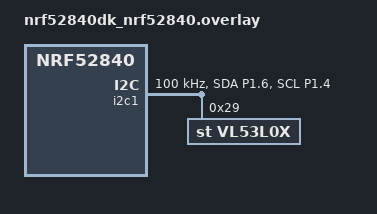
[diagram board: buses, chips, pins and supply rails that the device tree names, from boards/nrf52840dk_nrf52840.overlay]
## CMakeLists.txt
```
#
# Copyright (c) 2020 Nordic Semiconductor ASA
#
# SPDX-License-Identifier: LicenseRef-Nordic-5-Clause
#

cmake_minimum_required(VERSION 3.20.0)
list(APPEND ZEPHYR_EXTRA_MODULES "E:/ncs_workspaces/ncs-3.2.3/ncs-zigbee")
find_package(Zephyr REQUIRED HINTS $ENV{ZEPHYR_BASE})

project(zigbee)

# NORDIC SDK APP START
target_sources(app PRIVATE
  src/main.c
  src/zb_zcl_struct.c
  src/zephyr_drivers.c
)

target_include_directories(app PRIVATE include)
```

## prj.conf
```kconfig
#
# Copyright (c) 2020 Nordic Semiconductor ASA
#
# SPDX-License-Identifier: LicenseRef-Nordic-5-Clause
#

#CONFIG_NCS_SAMPLES_DEFAULTS=y

#for E73-2G4M08S1C
# CONFIG_CLOCK_CONTROL_NRF_K32SRC_XTAL=n
# CONFIG_CLOCK_CONTROL_NRF_K32SRC_RC=y
# CONFIG_CLOCK_CONTROL_NRF_K32SRC_500PPM=y

#production
CONFIG_SERIAL=n
CONFIG_LOG=n
CONFIG_CONSOLE=n
CONFIG_RTT_CONSOLE=n
#CONFIG_LOG_DEFAULT_LEVEL=3
CONFIG_USE_SEGGER_RTT=n
CONFIG_LOG_BACKEND_RTT=n
CONFIG_ASSERT=n
#debug
# CONFIG_SERIAL=y
# CONFIG_LOG=y
# CONFIG_CONSOLE=y
# CONFIG_RTT_CONSOLE=y
# CONFIG_LOG_DEFAULT_LEVEL=3
# CONFIG_USE_SEGGER_RTT=y
# CONFIG_LOG_BACKEND_RTT=y
# CONFIG_ASSERT=y

CONFIG_LOG_BACKEND_UART=n
CONFIG_UART_CONSOLE=n

CONFIG_HEAP_MEM_POOL_SIZE=2048

#zigbee
#CONFIG_ZIGBEE=y
CONFIG_ZIGBEE_ADD_ON=y
CONFIG_ZIGBEE_APP_UTILS=y
CONFIG_ZIGBEE_ROLE_END_DEVICE=y
CONFIG_ZIGBEE_CHANNEL_SELECTION_MODE_MULTI=y

# This example requires more workqueue stack
CONFIG_SYSTEM_WORKQUEUE_STACK_SIZE=2048

# Enable API for powering down unused RAM parts
CONFIG_RAM_POWER_DOWN_LIBRARY=y

# Networking
CONFIG_NET_IPV6=n
CONFIG_NET_IP_ADDR_CHECK=n
CONFIG_NET_UDP=n


#CONFIG_PM=y
#CONFIG_PM_DEVICE=y
CONFIG_DK_LIBRARY=y
CONFIG_NRFX_SAADC=y
#CONFIG_I2C=y                      
#CONFIG_I2C_INIT_PRIORITY=60
#CONFIG_ADC=y
#CONFIG_ADC_NRFX_SAADC=y
CONFIG_LED=y
CONFIG_LED_GPIO=y

#CONFIG_SENSOR=y

# Enable nRF ECB driver
CONFIG_CRYPTO=y
CONFIG_CRYPTO_NRF_ECB=y
CONFIG_CRYPTO_INIT_PRIORITY=80
```

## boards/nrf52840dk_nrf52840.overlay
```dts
&i2c1 {
	compatible = "nordic,nrf-twim";
    status = "okay";
    clock-frequency = <I2C_BITRATE_STANDARD>;
    pinctrl-0 = <&i2c1_default>;
    pinctrl-1 = <&i2c1_sleep>;
    pinctrl-names = "default", "sleep";

	vl53l0x: vl53l0x@29 {
        compatible = "st,vl53l0x";
        reg = <0x29>;
        label = "VL53L0X";
        /* xshut-gpios = <&gpio0 13 GPIO_ACTIVE_LOW>;  // если подключишь XSHUT */
    };
};

&pinctrl {
    i2c1_default: i2c1_default {
        group1 {
            psels = <NRF_PSEL(TWIM_SDA, 1, 6)>,
                    <NRF_PSEL(TWIM_SCL, 1, 4)>;
        };
    };

    i2c1_sleep: i2c1_sleep {
        group1 {
            psels = <NRF_PSEL(TWIM_SDA, 1, 6)>,
                    <NRF_PSEL(TWIM_SCL, 1, 4)>;
            low-power-enable;
        };
    };
};
```

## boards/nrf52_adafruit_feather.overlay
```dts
&i2c0 {
    status = "okay";
    clock-frequency = <I2C_BITRATE_STANDARD>;  // Скорость передачи: 100 кГц
    pinctrl-0 = <&i2c0_default>;           // Настраиваем пользовательские пины
    pinctrl-1 = <&i2c0_sleep>;
    pinctrl-names = "default", "sleep";
};

&pinctrl {
    i2c0_default: i2c0_default {
		group1 {
			psels = <NRF_PSEL(TWIM_SDA, 0, 24)>,
				<NRF_PSEL(TWIM_SCL, 0, 22)>;
		};
	};

    i2c0_sleep: i2c0_sleep {
		group1 {
			psels = <NRF_PSEL(TWIM_SDA, 0, 24)>,
				<NRF_PSEL(TWIM_SCL, 0, 22)>;
			low-power-enable;
		};
	};
};
```

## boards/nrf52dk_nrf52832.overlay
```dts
&i2c0 {
    status = "okay";
    clock-frequency = <I2C_BITRATE_STANDARD>;  // Скорость передачи: 100 кГц
    pinctrl-0 = <&i2c0_default>;           // Настраиваем пользовательские пины
    pinctrl-1 = <&i2c0_sleep>;
    pinctrl-names = "default", "sleep";
};

&pinctrl {
    i2c0_default: i2c0_default {
		group1 {
			psels = <NRF_PSEL(TWIM_SDA, 1, 2)>,
				<NRF_PSEL(TWIM_SCL, 1, 1)>;
		};
	};

    i2c0_sleep: i2c0_sleep {
		group1 {
			psels = <NRF_PSEL(TWIM_SDA, 1, 2)>,
				<NRF_PSEL(TWIM_SCL, 1, 1)>;
			low-power-enable;
		};
	};
};
```

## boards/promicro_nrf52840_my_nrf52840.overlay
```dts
/ {
    aliases {
        sw0 = &user_button;
    };

    buttons {
        compatible = "gpio-keys";

        user_button: button_0 {
            gpios = <&gpio0 8 (GPIO_PULL_UP | GPIO_ACTIVE_LOW)>;
            label = "User Button";
            zephyr,code = <INPUT_KEY_0>;
        };
    };
};
```

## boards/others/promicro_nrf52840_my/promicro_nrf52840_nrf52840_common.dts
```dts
/*
 * Copyright (c) 2024 MASSDRIVER EI (massdriver.space)
 * Copyright (c) 2018-2023 Nordic Semiconductor ASA
 * Copyright (c) 2017 Linaro Limited
 *
 * SPDX-License-Identifier: Apache-2.0
 */

/dts-v1/;
#include <nordic/nrf52840_qiaa.dtsi>
#include "promicro_nrf52840-pinctrl.dtsi"
#include <zephyr/dt-bindings/input/input-event-codes.h>

/ {
	model = "Pro Micro nRF52840";
	compatible = "others,promicro-nrf52840";

	chosen {
		zephyr,sram = &sram0;
		zephyr,flash = &flash0;
		zephyr,ieee802154 = &ieee802154;
	};

	leds: leds {
		compatible = "gpio-leds";
		led0: led_0 {
			gpios = <&gpio0 15 GPIO_ACTIVE_HIGH>;
			label = "Red LED";
		};
	};

	pwmleds {
		compatible = "pwm-leds";
		red_pwm_led: led_pwm_0 {
			pwms = <&pwm0 0 PWM_MSEC(20) PWM_POLARITY_INVERTED>;
			label = "Red PWM LED";
		};
	};

	aliases {
		led0 = &led0;
		pwm-led0 = &red_pwm_led;
		red-pwm-led = &red_pwm_led;
		mcuboot-led0 = &led0;
		spi = &spi2;
		watchdog0 = &wdt0;
	};
};

&adc {
	status = "okay";
};

&gpiote {
	status = "okay";
};

&uicr {
	nfct-pins-as-gpios;
	gpio-as-nreset;
};

&gpio0 {
	status = "okay";
};

&gpio1 {
	status = "okay";
};

&uart0 {
	compatible = "nordic,nrf-uarte";
	status = "okay";
	current-speed = <115200>;
	pinctrl-0 = <&uart0_default>;
	pinctrl-1 = <&uart0_sleep>;
	pinctrl-names = "default", "sleep";
};

&i2c0 {
	compatible = "nordic,nrf-twi";
	status = "disabled";
	pinctrl-0 = <&i2c0_default>;
	pinctrl-1 = <&i2c0_sleep>;
	pinctrl-names = "default", "sleep";
};

&i2c1 {
	compatible = "nordic,nrf-twi";
	status = "disabled";
	pinctrl-0 = <&i2c1_default>;
	pinctrl-1 = <&i2c1_sleep>;
	pinctrl-names = "default", "sleep";
};

&pwm0 {
	status = "okay";
	pinctrl-0 = <&pwm0_default>;
	pinctrl-1 = <&pwm0_sleep>;
	pinctrl-names = "default", "sleep";
};


&spi2 {
	compatible = "nordic,nrf-spi";
	status = "okay";
	pinctrl-0 = <&spi2_default>;
	pinctrl-1 = <&spi2_sleep>;
	pinctrl-names = "default", "sleep";
};

&ieee802154 {
	status = "okay";
};

zephyr_udc0: &usbd {
	status = "okay";
};
#include <../boards/common/usb/cdc_acm_serial.dtsi>
```

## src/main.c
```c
#include <zephyr/kernel.h>
#include <zephyr/device.h>
#include <zephyr/logging/log.h>
#include <ram_pwrdn.h>
#include <dk_buttons_and_leds.h>
#include <zboss_api.h>
#include <zboss_api_addons.h>
#include <zb_zcl_reporting.h>
#include <zigbee/zigbee_app_utils.h>
#include <zigbee/zigbee_error_handler.h>
#include <zb_nrf_platform.h>

#include "zephyr_drivers.h"
#include "zb_zcl_struct.h"

void zboss_signal_handler(zb_bufid_t bufid);
static int configure_gpio(void);
static void button_handler(uint32_t button_state, uint32_t has_changed);
static void read_data_cb(struct k_timer *timer);
static void read_data_handler(struct k_work *work);
static void send_attribute_report(zb_bufid_t bufid, zb_uint16_t cmd_id);
static void enter_deep_sleep_work_handler(struct k_work *work);

K_WORK_DEFINE(read_data_work, read_data_handler);
K_WORK_DELAYABLE_DEFINE(deep_sleep_work, enter_deep_sleep_work_handler);
struct k_timer read_data_timer;

LOG_MODULE_REGISTER(app, LOG_LEVEL_INF);

static void enter_deep_sleep_work_handler(struct k_work *work)
{
	LOG_INF("Configuration window closed. Setting long poll to 10 minutes.");
	zb_zdo_pim_set_long_poll_interval(LONG_POLL_INTERVAL);
}

void zboss_signal_handler(zb_bufid_t bufid)
{
	static bool lastJoin = false;

	zb_zdo_app_signal_hdr_t *sig_hndler = NULL;
	zb_zdo_app_signal_type_t sig = zb_get_app_signal(bufid, &sig_hndler);
	zb_ret_t status = ZB_GET_APP_SIGNAL_STATUS(bufid);

	if (sig == ZB_BDB_SIGNAL_STEERING)
	{
		LOG_INF("Signal STEERING");

		if (status == RET_OK)
		{
			LOG_INF("Device joined the network. Configuring reporting...");
			k_work_reschedule(&deep_sleep_work, K_SECONDS(30));
		}
	}

	if (sig == ZB_BDB_SIGNAL_DEVICE_REBOOT)
	{
		LOG_INF("Signal REBOOT");

		if (status == RET_OK)
		{
			LOG_INF("Device rebooting the network");
			k_work_reschedule(&deep_sleep_work, K_SECONDS(30));
		}
	}

	ZB_ERROR_CHECK(zigbee_default_signal_handler(bufid));

	if (bufid)
	{
		zb_buf_free(bufid);
	}

	bool thisJoin = ZB_JOINED();
	if ((lastJoin == false) && (thisJoin == true))
	{
		LOG_INF("joined network!");
		LED_BLINK_STOP();
		set_led_off(&led);
		k_timer_start(&read_data_timer, READ_DATA_INITIAL_DELAY, READ_DATA_TIMER_PERIOD);
	}
	else if ((lastJoin == true) && (thisJoin == false))
	{
		LOG_INF("left network!");
		LED_BLINK(K_NO_WAIT, K_NO_WAIT);
	}
	lastJoin = thisJoin;
}

static int configure_gpio(void)
{
	int ret;
	k_timer_init(&led_timer, led_timer_handler, NULL);
	LED_BLINK(K_NO_WAIT, K_NO_WAIT);
	if (!gpio_is_ready_dt(&led))
	{
		LOG_ERR("GPIO device for led not ready");
		return -ENODEV;
	}

	if (!gpio_is_ready_dt(&button))
	{
		LOG_ERR("GPIO device for button not ready");
		return -ENODEV;
	}

	ret = gpio_pin_configure_dt(&button, GPIO_INPUT);
	if (ret < 0)
	{
		LOG_ERR("Failed to configure button pin: %d", ret);
		return ret;
	}

	dk_buttons_init(button_handler);
	return 0;
}

void button_handler(uint32_t button_state, uint32_t has_changed)
{
	LOG_INF("button_handler %d", button_state);

	user_input_indicate();

	check_factory_reset_button(button_state, has_changed);
	if (MY_BUTTON_MASK & has_changed & ~button_state)
	{
		if (!was_factory_reset_done())
		{
			//user_short_button_action();
		}
	}
}

static void read_data_cb(struct k_timer *timer)
{
	ARG_UNUSED(timer);
	k_work_submit(&read_data_work);
}

static void send_attribute_report(zb_bufid_t bufid, zb_uint16_t cmd_id)
{
	ARG_UNUSED(cmd_id);
	LOG_INF("force zboss scheduler to wake and send attribute report");
	zb_buf_free(bufid);
}

static void read_data_handler(struct k_work *work)
{
	ARG_UNUSED(work);
	// Read your data here
	// read_your_data(&your_data);
	// zb_zcl_set_attr_val(
	// 	ENDPOINT_NUM,
	// 	ZB_ZCL_CLUSTER_ID_TEMP_MEASUREMENT,
	// 	ZB_ZCL_CLUSTER_SERVER_ROLE,
	// 	ZB_ZCL_ATTR_TEMP_MEASUREMENT_VALUE_ID,
	// 	(zb_uint8_t *)&your_data,
	// 	ZB_FALSE);

	zb_buf_get_out_delayed_ext(send_attribute_report, 0, 0);
}

int main(void)
{
	LOG_INF("Starting...");
	if (!configure_gpio())
	{
		LOG_INF("Init GPIO");
	}
	else
	{
		LOG_INF("ERROR init GPIO");
	}

	register_factory_reset_button(MY_BUTTON_MASK);
	zigbee_erase_persistent_storage(ERASE_PERSISTENT_CONFIG);
	zb_set_ed_timeout(ED_AGING_TIMEOUT_64MIN);
	zb_set_keepalive_timeout(ZB_MILLISECONDS_TO_BEACON_INTERVAL(3600 * 1000));

	// configure for lowest power
	zigbee_configure_sleepy_behavior(true);
	power_down_unused_ram();

	// initialize application clusters
	app_clusters_attr_init();

	// initialize read data  timer
	k_timer_init(&read_data_timer, read_data_cb, NULL);

	zigbee_enable();

	LOG_INF("Device started");

	while (1)
	{
		k_sleep(K_FOREVER);
	}
}
```

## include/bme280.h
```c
#ifndef BME280_H
#define BME280_H

#include <zephyr/device.h>

int bme280_init(const struct device *i2c_dev);
int bme280_read_data(const struct device *i2c_dev, float *temperature, float *pressure, float *humidity);

#endif /* BME280_H */
```

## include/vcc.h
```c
int saadc_init(void);

int read_vdd(float *voltage);
```

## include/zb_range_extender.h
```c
#ifndef __ZB_RANGE_EXTENDER_H__
#define __ZB_RANGE_EXTENDER_H__

#define ZB_ENV_SENSOR_DEVICE_ID 0x000C

#define ZB_DEVICE_VER_ENV_SENSOR 0

// number of IN (server) clusters
#define ZB_NORDIC_DIY_TEMPLATE_IN_CLUSTER_NUM 4

// number of OUT (client) clusters
#define ZB_NORDIC_DIY_TEMPLATE_OUT_CLUSTER_NUM 1

// total number of (IN+OUT) clusters
#define ZB_NORDIC_DIY_TEMPLATE_CLUSTER_NUM \
	(ZB_NORDIC_DIY_TEMPLATE_IN_CLUSTER_NUM + ZB_NORDIC_DIY_TEMPLATE_OUT_CLUSTER_NUM)

// Number of attributes for reporting
#define ZB_NORDIC_DIY_TEMPLATE_REPORT_ATTR_COUNT 2

#define ZB_DECLARE_NORDIC_DIY_TEMPLATE_CLUSTER_LIST( \
	cluster_list_name, \
	basic_server_attr_list, \
	identify_server_attr_list, \
	power_config_server_attr_list, \
	humidity_measurement_attr_list, \
	identify_client_attr_list) \
	zb_zcl_cluster_desc_t cluster_list_name[] = \
		{ \
			ZB_ZCL_CLUSTER_DESC( \
				ZB_ZCL_CLUSTER_ID_BASIC, \
				ZB_ZCL_ARRAY_SIZE(basic_server_attr_list, zb_zcl_attr_t), \
				(basic_server_attr_list), \
				ZB_ZCL_CLUSTER_SERVER_ROLE, \
				ZB_ZCL_MANUF_CODE_INVALID), \
			ZB_ZCL_CLUSTER_DESC( \
				ZB_ZCL_CLUSTER_ID_IDENTIFY, \
				ZB_ZCL_ARRAY_SIZE(identify_server_attr_list, zb_zcl_attr_t), \
				(identify_server_attr_list), \
				ZB_ZCL_CLUSTER_SERVER_ROLE, \
				ZB_ZCL_MANUF_CODE_INVALID), \
			ZB_ZCL_CLUSTER_DESC( \
				ZB_ZCL_CLUSTER_ID_POWER_CONFIG, \
				ZB_ZCL_ARRAY_SIZE(power_config_server_attr_list, zb_zcl_attr_t), \
				(power_config_server_attr_list), \
				ZB_ZCL_CLUSTER_SERVER_ROLE, \
				ZB_ZCL_MANUF_CODE_INVALID), \
			ZB_ZCL_CLUSTER_DESC( \
				ZB_ZCL_CLUSTER_ID_REL_HUMIDITY_MEASUREMENT, \
				ZB_ZCL_ARRAY_SIZE(humidity_measurement_attr_list, zb_zcl_attr_t), \
				(humidity_measurement_attr_list), \
				ZB_ZCL_CLUSTER_SERVER_ROLE, \
				ZB_ZCL_MANUF_CODE_INVALID), \
			ZB_ZCL_CLUSTER_DESC( \
				ZB_ZCL_CLUSTER_ID_IDENTIFY, \
				ZB_ZCL_ARRAY_SIZE(identify_client_attr_list, zb_zcl_attr_t), \
				(identify_client_attr_list), \
				ZB_ZCL_CLUSTER_CLIENT_ROLE, \
				ZB_ZCL_MANUF_CODE_INVALID) \
		}

#define ZB_ZCL_DECLARE_NORDIC_DIY_TEMPLATE_SIMPLE_DESC( \
	ep_name, ep_id, in_clust_num, out_clust_num) \
	ZB_DECLARE_SIMPLE_DESC(in_clust_num, out_clust_num); \
	ZB_AF_SIMPLE_DESC_TYPE(in_clust_num, out_clust_num) \
	simple_desc_##ep_name = \
		{ \
			ep_id, \
			ZB_AF_HA_PROFILE_ID, \
			ZB_ENV_SENSOR_DEVICE_ID, \
			ZB_DEVICE_VER_ENV_SENSOR, \
			0, \
			in_clust_num, \
			out_clust_num, \
			{ZB_ZCL_CLUSTER_ID_BASIC, ZB_ZCL_CLUSTER_ID_IDENTIFY, ZB_ZCL_CLUSTER_ID_POWER_CONFIG, ZB_ZCL_CLUSTER_ID_REL_HUMIDITY_MEASUREMENT, ZB_ZCL_CLUSTER_ID_IDENTIFY}}

#define ZB_DECLARE_NORDIC_DIY_TEMPLATE_EP(ep_name, ep_id, cluster_list) \
	ZB_ZCL_DECLARE_NORDIC_DIY_TEMPLATE_SIMPLE_DESC(ep_name, ep_id, \
						  ZB_NORDIC_DIY_TEMPLATE_IN_CLUSTER_NUM, ZB_NORDIC_DIY_TEMPLATE_OUT_CLUSTER_NUM); \
	ZBOSS_DEVICE_DECLARE_REPORTING_CTX(reporting_info##ep_name, \
						   ZB_NORDIC_DIY_TEMPLATE_REPORT_ATTR_COUNT); \
	ZB_AF_DECLARE_ENDPOINT_DESC(ep_name, ep_id, ZB_AF_HA_PROFILE_ID, 0, NULL, \
								ZB_ZCL_ARRAY_SIZE(cluster_list, zb_zcl_cluster_desc_t), cluster_list, \
								(zb_af_simple_desc_1_1_t *)&simple_desc_##ep_name, \
								ZB_NORDIC_DIY_TEMPLATE_REPORT_ATTR_COUNT, reporting_info##ep_name, \
								0, NULL) // No CVC ctx

#endif // __ZB_RANGE_EXTENDER_H__
```

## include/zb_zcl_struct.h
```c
#ifndef ZB_ZCL_STRUCT_H
#define ZB_ZCL_STRUCT_H

#include <zboss_api.h>
#include <zboss_api_addons.h>
#include <zcl/zb_zcl_basic.h>
#include <zcl/zb_zcl_identify.h>
#include <zcl/zb_zcl_power_config.h>
#include <zcl/zb_zcl_rel_humidity_measurement.h>

#define NORDIC_DIY_TEMPLATE_INIT_BASIC_APP_VERSION 1
#define NORDIC_DIY_TEMPLATE_INIT_BASIC_STACK_VERSION 10
#define NORDIC_DIY_TEMPLATE_INIT_BASIC_HW_VERSION 11
#define NORDIC_DIY_TEMPLATE_INIT_BASIC_SW_VERSION "build-1"
#define NORDIC_DIY_TEMPLATE_INIT_BASIC_MANUF_NAME "Nordic"
#define NORDIC_DIY_TEMPLATE_INIT_BASIC_MODEL_ID "nordic_diy_template"
#define NORDIC_DIY_TEMPLATE_INIT_BASIC_DATE_CODE "033026"
#define NORDIC_DIY_TEMPLATE_INIT_BASIC_POWER_SOURCE ZB_ZCL_BASIC_POWER_SOURCE_BATTERY
#define NORDIC_DIY_TEMPLATE_INIT_BASIC_LOCATION_DESC ""
#define NORDIC_DIY_TEMPLATE_INIT_BASIC_PH_ENV ZB_ZCL_BASIC_ENV_UNSPECIFIED

#define ATTR_HUM_MIN (0)
#define ATTR_HUM_MAX (10000)

#define ENDPOINT_NUM 1
#define ERASE_PERSISTENT_CONFIG ZB_FALSE

#define READ_DATA_INITIAL_DELAY K_SECONDS(30)
#define READ_DATA_TIMER_PERIOD K_SECONDS(60)
#define LONG_POLL_INTERVAL 600000

typedef struct zb_zcl_power_attrs zb_zcl_power_attrs_t;

struct zb_zcl_power_attrs
{
    zb_uint8_t voltage;
    zb_uint8_t percent_remaining;
};

typedef struct
{
    zb_int16_t measure_value;
    zb_int16_t min_measure_value;
    zb_int16_t max_measure_value;
} zb_zcl_humidity_measurement_attrs_t;

struct zb_device_ctx
{
    zb_zcl_basic_attrs_ext_t basic_attr;
    zb_zcl_identify_attrs_t identify_attr;
    zb_zcl_humidity_measurement_attrs_t humidity_measure_attrs;
    zb_zcl_power_attrs_t power_attr;
};

extern struct zb_device_ctx dev_ctx;

extern zb_af_device_ctx_t NORDIC_DIY_TEMPLATE_ctx;
extern zb_af_endpoint_desc_t NORDIC_DIY_TEMPLATE_ep;

void app_clusters_attr_init(void);

#endif /* ZB_ZCL_STRUCT_H */
```

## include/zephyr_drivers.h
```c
#ifndef ZEPHYR_DRIVERS_H
#define ZEPHYR_DRIVERS_H

#include <zephyr/kernel.h>
#include <zephyr/device.h>
#include <zephyr/drivers/gpio.h>
#include <zephyr/drivers/sensor.h>
#include <zephyr/drivers/sensor_data_types.h>
#include <zephyr/drivers/adc.h>

#define SW0_NODE DT_ALIAS(sw0)
#define MY_BUTTON_MASK BIT(0)

#define LED0_NODE DT_ALIAS(led0)
#define MY_LED_MASK BIT(0)

extern const struct gpio_dt_spec button;
extern const struct gpio_dt_spec led;
extern struct k_timer led_timer;

#define LED_BLINK(start_delay, period) k_timer_start(&led_timer, start_delay, period)

#define LED_BLINK_STOP() k_timer_stop(&led_timer)

void set_led_on(const struct gpio_dt_spec *led);
void set_led_off(const struct gpio_dt_spec *led);
void led_timer_handler(struct k_timer *timer);

#endif /* ZEPHYR_DRIVERS_H */
```

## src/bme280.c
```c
#include "bme280.h"

#include <zephyr/drivers/i2c.h>
#include <zephyr/kernel.h>
#include <zephyr/logging/log.h>
#include <stdint.h>

LOG_MODULE_REGISTER(bme280, LOG_LEVEL_INF);

#define BME280_I2C_ADDR 0x77
#define BME280_CHIP_ID_REG 0xD0
#define BME280_CHIP_ID 0x58
#define BME280_RESET_REG 0xE0
#define BME280_RESET_CMD 0xB6
#define BME280_CTRL_HUM_REG 0xF2
#define BME280_STATUS_REG 0xF3
#define BME280_CTRL_MEAS_REG 0xF4
#define BME280_CONFIG_REG 0xF5
#define BME280_DATA_REG 0xF7

struct bme280_calib_data
{
    uint16_t dig_T1;
    int16_t dig_T2;
    int16_t dig_T3;

    uint16_t dig_P1;
    int16_t dig_P2;
    int16_t dig_P3;
    int16_t dig_P4;
    int16_t dig_P5;
    int16_t dig_P6;
    int16_t dig_P7;
    int16_t dig_P8;
    int16_t dig_P9;

    uint8_t dig_H1;
    int16_t dig_H2;
    uint8_t dig_H3;
    int16_t dig_H4;
    int16_t dig_H5;
    int8_t dig_H6;
};

static struct bme280_calib_data calib;
static int32_t t_fine;

static int bme280_read_regs(const struct device *i2c_dev, uint8_t reg, uint8_t *buf, size_t len)
{
    return i2c_write_read(i2c_dev, BME280_I2C_ADDR, &reg, 1, buf, len);
}

static int bme280_write_reg(const struct device *i2c_dev, uint8_t reg, uint8_t value)
{
    uint8_t buf[2] = {reg, value};
    return i2c_write(i2c_dev, buf, sizeof(buf), BME280_I2C_ADDR);
}

static int bme280_read_calibration(const struct device *i2c_dev)
{
    uint8_t buf1[26];
    uint8_t buf2[7];
    int ret;

    ret = bme280_read_regs(i2c_dev, 0x88, buf1, sizeof(buf1));
    if (ret)
    {
        return ret;
    }

    ret = bme280_read_regs(i2c_dev, 0xE1, buf2, sizeof(buf2));
    if (ret)
    {
        return ret;
    }

    calib.dig_T1 = (uint16_t)((buf1[1] << 8) | buf1[0]);
    calib.dig_T2 = (int16_t)((buf1[3] << 8) | buf1[2]);
    calib.dig_T3 = (int16_t)((buf1[5] << 8) | buf1[4]);

    calib.dig_P1 = (uint16_t)((buf1[7] << 8) | buf1[6]);
    calib.dig_P2 = (int16_t)((buf1[9] << 8) | buf1[8]);
    calib.dig_P3 = (int16_t)((buf1[11] << 8) | buf1[10]);
    calib.dig_P4 = (int16_t)((buf1[13] << 8) | buf1[12]);
    calib.dig_P5 = (int16_t)((buf1[15] << 8) | buf1[14]);
    calib.dig_P6 = (int16_t)((buf1[17] << 8) | buf1[16]);
    calib.dig_P7 = (int16_t)((buf1[19] << 8) | buf1[18]);
    calib.dig_P8 = (int16_t)((buf1[21] << 8) | buf1[20]);
    calib.dig_P9 = (int16_t)((buf1[23] << 8) | buf1[22]);

    calib.dig_H1 = buf1[25];
    calib.dig_H2 = (int16_t)((buf2[1] << 8) | buf2[0]);
    calib.dig_H3 = buf2[2];
    calib.dig_H4 = (int16_t)((buf2[3] << 4) | (buf2[4] & 0x0F));
    calib.dig_H5 = (int16_t)((buf2[5] << 4) | (buf2[4] >> 4));
    calib.dig_H6 = (int8_t)buf2[6];

    return 0;
}

static int32_t compensate_temperature(int32_t adc_T)
{
    int32_t var1, var2, T;

    var1 = ((((adc_T >> 3) - ((int32_t)calib.dig_T1 << 1))) * ((int32_t)calib.dig_T2)) >> 11;
    var2 = (((((adc_T >> 4) - ((int32_t)calib.dig_T1)) *
              ((adc_T >> 4) - ((int32_t)calib.dig_T1))) >>
             12) *
            ((int32_t)calib.dig_T3)) >>
           14;

    t_fine = var1 + var2;
    T = (t_fine * 5 + 128) >> 8;
    return T;
}

static uint32_t compensate_pressure(int32_t adc_P)
{
    int64_t var1, var2, p;

    var1 = ((int64_t)t_fine) - 128000;
    var2 = var1 * var1 * (int64_t)calib.dig_P6;
    var2 = var2 + ((var1 * (int64_t)calib.dig_P5) << 17);
    var2 = var2 + (((int64_t)calib.dig_P4) << 35);
    var1 = ((var1 * var1 * (int64_t)calib.dig_P3) >> 8) +
           ((var1 * (int64_t)calib.dig_P2) << 12);
    var1 = (((((int64_t)1) << 47) + var1) * ((int64_t)calib.dig_P1)) >> 33;

    if (var1 == 0)
    {
        return 0;
    }

    p = 1048576 - adc_P;
    p = (((p << 31) - var2) * 3125) / var1;
    var1 = (((int64_t)calib.dig_P9) * (p >> 13) * (p >> 13)) >> 25;
    var2 = (((int64_t)calib.dig_P8) * p) >> 19;

    p = ((p + var1 + var2) >> 8) + (((int64_t)calib.dig_P7) << 4);
    return (uint32_t)p;
}

static uint32_t compensate_humidity(int32_t adc_H)
{
    int32_t v_x1_u32r;

    v_x1_u32r = (t_fine - ((int32_t)76800));
    v_x1_u32r = (((((adc_H << 14) - (((int32_t)calib.dig_H4) << 20) -
                    (((int32_t)calib.dig_H5) * v_x1_u32r)) +
                   ((int32_t)16384)) >>
                  15) *
                 (((((((v_x1_u32r * ((int32_t)calib.dig_H6)) >> 10) *
                      (((v_x1_u32r * ((int32_t)calib.dig_H3)) >> 11) + ((int32_t)32768))) >>
                     10) +
                    ((int32_t)2097152)) *
                       ((int32_t)calib.dig_H2) +
                   8192) >>
                  14));

    v_x1_u32r = (v_x1_u32r -
                 (((((v_x1_u32r >> 15) * (v_x1_u32r >> 15)) >> 7) *
                   ((int32_t)calib.dig_H1)) >>
                  4));

    if (v_x1_u32r < 0)
    {
        v_x1_u32r = 0;
    }
    if (v_x1_u32r > 419430400)
    {
        v_x1_u32r = 419430400;
    }

    return (uint32_t)(v_x1_u32r >> 12);
}

int bme280_init(const struct device *i2c_dev)
{
    uint8_t chip_id = 0;
    int ret;

    ret = bme280_read_regs(i2c_dev, BME280_CHIP_ID_REG, &chip_id, 1);
    if (ret)
    {
        LOG_ERR("Failed to read chip ID");
        return ret;
    }

    if (chip_id != BME280_CHIP_ID)
    {
        LOG_ERR("Unexpected chip ID: 0x%02x", chip_id);
        return -EINVAL;
    }

    ret = bme280_write_reg(i2c_dev, BME280_RESET_REG, BME280_RESET_CMD);
    if (ret)
    {
        LOG_ERR("Failed to reset BME280");
        return ret;
    }

    k_msleep(10);

    ret = bme280_read_calibration(i2c_dev);
    if (ret)
    {
        LOG_ERR("Failed to read calibration");
        return ret;
    }

    ret = bme280_write_reg(i2c_dev, BME280_CTRL_HUM_REG, 0x01);
    if (ret)
    {
        return ret;
    }

    ret = bme280_write_reg(i2c_dev, BME280_CONFIG_REG, 0x00);
    if (ret)
    {
        return ret;
    }

    // ret = bme280_write_reg(i2c_dev, BME280_CTRL_MEAS_REG, 0x27);
    ret = bme280_write_reg(i2c_dev, BME280_CTRL_MEAS_REG, 0x24);
    if (ret)
    {
        return ret;
    }

    LOG_INF("BME280 initialized");
    return 0;
}

int bme280_read_data(const struct device *i2c_dev, float *temperature, float *pressure, float *humidity)
{
    uint8_t data[8];
    int ret;
//=======================
    ret = bme280_write_reg(i2c_dev, BME280_CTRL_HUM_REG, 0x01);
    if (ret)
    {
        LOG_ERR("Failed to set humidity oversampling");
        return ret;
    }

    ret = bme280_write_reg(i2c_dev, BME280_CTRL_MEAS_REG, 0x25);
    if (ret)
    {
        LOG_ERR("Failed to start forced measurement");
        return ret;
    }

    k_msleep(10);
//--------------------
    ret = bme280_read_regs(i2c_dev, BME280_DATA_REG, data, sizeof(data));
    if (ret)
    {
        LOG_ERR("Failed to read BME280 data");
        return ret;
    }

    int32_t adc_P = (int32_t)((((uint32_t)data[0]) << 12) |
                              (((uint32_t)data[1]) << 4) |
                              (((uint32_t)data[2]) >> 4));

    int32_t adc_T = (int32_t)((((uint32_t)data[3]) << 12) |
                              (((uint32_t)data[4]) << 4) |
                              (((uint32_t)data[5]) >> 4));

    int32_t adc_H = (int32_t)((((uint32_t)data[6]) << 8) |
                              ((uint32_t)data[7]));

    int32_t temp_x100 = compensate_temperature(adc_T);
    uint32_t press_q24_8 = compensate_pressure(adc_P);
    uint32_t hum_q22_10 = compensate_humidity(adc_H);

    if (temperature)
    {
        *temperature = temp_x100 / 100.0f;
    }

    if (pressure)
    {
        *pressure = (press_q24_8 / 256.0f) / 100.0f;
    }

    if (humidity)
    {
        *humidity = hum_q22_10 / 1024.0f;
    }

    return 0;
}
```

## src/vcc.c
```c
#include <zephyr/kernel.h>
#include <zephyr/device.h>
#include <zephyr/drivers/adc.h>
#include <zephyr/logging/log.h>
#include <stdint.h>
#include "vcc.h"

#define ADC_RESOLUTION 10
#define ADC_GAIN ADC_GAIN_1_6
#define ADC_REFERENCE ADC_REF_INTERNAL
#define ADC_CHANNEL_ID 0
#define ADC_BUFFER_SIZE 1

LOG_MODULE_REGISTER(vcc, LOG_LEVEL_INF);

static const struct device *adc_dev;
static int16_t sample_buffer[ADC_BUFFER_SIZE];

static const struct adc_channel_cfg adc_cfg = {
    .gain = ADC_GAIN,
    .reference = ADC_REFERENCE,
    .acquisition_time = ADC_ACQ_TIME(ADC_ACQ_TIME_MICROSECONDS, 10),
    .channel_id = ADC_CHANNEL_ID,
    .input_positive = SAADC_CH_PSELP_PSELP_VDD, // measure VDD
};

int saadc_init(void)
{
    adc_dev = DEVICE_DT_GET(DT_NODELABEL(adc));
    if (!device_is_ready(adc_dev))
    {
        LOG_WRN("ADC device not ready\n");
        return -1;
    }

    int err = adc_channel_setup(adc_dev, &adc_cfg);
    if (err < 0)
    {
        LOG_ERR("ADC channel setup failed: %d\n", err);
        return err;
    }

    LOG_INF("SAADC initialized successfully\n");
    return 0;
}

int read_vdd(float *voltage)
{
    if (!adc_dev)
    {
        LOG_WRN("ADC device not initialized\n");
        return -1;
    }

    struct adc_sequence sequence = {
        .options = NULL,
        .channels = BIT(ADC_CHANNEL_ID),
        .buffer = sample_buffer,
        .buffer_size = sizeof(sample_buffer),
        .resolution = ADC_RESOLUTION,
        .oversampling = 0,
        .calibrate = false,
    };

    int err = adc_read(adc_dev, &sequence);
    if (err < 0)
    {
        LOG_ERR("ADC read error: %d\n", err);
        return err;
    }

    int32_t raw_value = sample_buffer[0];
    *voltage = (raw_value * 3.6) / (1 << ADC_RESOLUTION); // Рассчитываем напряжение

    return 0;
}
```

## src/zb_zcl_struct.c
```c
#include "zb_zcl_struct.h"
#include "zb_range_extender.h"

struct zb_device_ctx dev_ctx;

ZB_ZCL_DECLARE_BASIC_ATTRIB_LIST_EXT(
    basic_attr_list,
    &dev_ctx.basic_attr.zcl_version,
    &dev_ctx.basic_attr.app_version,
    &dev_ctx.basic_attr.stack_version,
    &dev_ctx.basic_attr.hw_version,
    dev_ctx.basic_attr.mf_name,
    dev_ctx.basic_attr.model_id,
    dev_ctx.basic_attr.date_code,
    &dev_ctx.basic_attr.power_source,
    dev_ctx.basic_attr.location_id,
    &dev_ctx.basic_attr.ph_env,
    dev_ctx.basic_attr.sw_ver);

ZB_ZCL_DECLARE_IDENTIFY_CLIENT_ATTRIB_LIST(
    identify_client_attr_list);

ZB_ZCL_DECLARE_IDENTIFY_SERVER_ATTRIB_LIST(
    identify_server_attr_list,
    &dev_ctx.identify_attr.identify_time);

#define ZB_ZCL_DECLARE_POWER_CONFIG_VOLTAGE_PERCENT_ATTRIB_LIST(attr_list, voltage, remaining)        \
    ZB_ZCL_START_DECLARE_ATTRIB_LIST_CLUSTER_REVISION(attr_list, ZB_ZCL_POWER_CONFIG)                 \
    ZB_SET_ATTR_DESCR_WITH_ZB_ZCL_ATTR_POWER_CONFIG_BATTERY_VOLTAGE_ID(voltage, ),                    \
        ZB_SET_ATTR_DESCR_WITH_ZB_ZCL_ATTR_POWER_CONFIG_BATTERY_PERCENTAGE_REMAINING_ID(remaining, ), \
        ZB_ZCL_FINISH_DECLARE_ATTRIB_LIST;

ZB_ZCL_DECLARE_POWER_CONFIG_VOLTAGE_PERCENT_ATTRIB_LIST(
    power_config_server_attr_list,
    &dev_ctx.power_attr.voltage,
    &dev_ctx.power_attr.percent_remaining);

ZB_ZCL_DECLARE_REL_HUMIDITY_MEASUREMENT_ATTRIB_LIST(
    humidity_measurement_attr_list,
    &dev_ctx.humidity_measure_attrs.measure_value,
    &dev_ctx.humidity_measure_attrs.min_measure_value,
    &dev_ctx.humidity_measure_attrs.max_measure_value);

ZB_DECLARE_NORDIC_DIY_TEMPLATE_CLUSTER_LIST(
    NORDIC_DIY_TEMPLATE_clusters,
    basic_attr_list,
    identify_server_attr_list,
    power_config_server_attr_list,
    humidity_measurement_attr_list,
    identify_client_attr_list);

ZB_DECLARE_NORDIC_DIY_TEMPLATE_EP(
    NORDIC_DIY_TEMPLATE_ep,
    ENDPOINT_NUM,
    NORDIC_DIY_TEMPLATE_clusters);

ZBOSS_DECLARE_DEVICE_CTX_1_EP(
    NORDIC_DIY_TEMPLATE_ctx,
    NORDIC_DIY_TEMPLATE_ep);

void app_clusters_attr_init(void)
{
	ZB_AF_REGISTER_DEVICE_CTX(&NORDIC_DIY_TEMPLATE_ctx);

	// Basic cluster attributes data.
	dev_ctx.basic_attr.zcl_version = ZB_ZCL_VERSION;
	dev_ctx.basic_attr.power_source = NORDIC_DIY_TEMPLATE_INIT_BASIC_POWER_SOURCE;
	dev_ctx.basic_attr.stack_version = NORDIC_DIY_TEMPLATE_INIT_BASIC_STACK_VERSION;
	dev_ctx.basic_attr.hw_version = NORDIC_DIY_TEMPLATE_INIT_BASIC_HW_VERSION;

	ZB_ZCL_SET_STRING_VAL(dev_ctx.basic_attr.mf_name,
					  NORDIC_DIY_TEMPLATE_INIT_BASIC_MANUF_NAME,
					  ZB_ZCL_STRING_CONST_SIZE(NORDIC_DIY_TEMPLATE_INIT_BASIC_MANUF_NAME));

	ZB_ZCL_SET_STRING_VAL(dev_ctx.basic_attr.model_id,
					  NORDIC_DIY_TEMPLATE_INIT_BASIC_MODEL_ID,
					  ZB_ZCL_STRING_CONST_SIZE(NORDIC_DIY_TEMPLATE_INIT_BASIC_MODEL_ID));

	ZB_ZCL_SET_STRING_VAL(dev_ctx.basic_attr.date_code,
					  NORDIC_DIY_TEMPLATE_INIT_BASIC_DATE_CODE,
					  ZB_ZCL_STRING_CONST_SIZE(NORDIC_DIY_TEMPLATE_INIT_BASIC_DATE_CODE));

	ZB_ZCL_SET_STRING_VAL(dev_ctx.basic_attr.location_id,
					  NORDIC_DIY_TEMPLATE_INIT_BASIC_LOCATION_DESC,
					  ZB_ZCL_STRING_CONST_SIZE(NORDIC_DIY_TEMPLATE_INIT_BASIC_LOCATION_DESC));

	dev_ctx.basic_attr.ph_env = NORDIC_DIY_TEMPLATE_INIT_BASIC_PH_ENV;
	dev_ctx.basic_attr.app_version = NORDIC_DIY_TEMPLATE_INIT_BASIC_APP_VERSION;
	ZB_ZCL_SET_STRING_VAL(dev_ctx.basic_attr.sw_ver,
					  NORDIC_DIY_TEMPLATE_INIT_BASIC_SW_VERSION,
					  ZB_ZCL_STRING_CONST_SIZE(NORDIC_DIY_TEMPLATE_INIT_BASIC_SW_VERSION));

	dev_ctx.identify_attr.identify_time = ZB_ZCL_IDENTIFY_IDENTIFY_TIME_DEFAULT_VALUE;

	dev_ctx.power_attr.voltage = ZB_ZCL_POWER_CONFIG_BATTERY_VOLTAGE_INVALID;
	dev_ctx.power_attr.percent_remaining = ZB_ZCL_POWER_CONFIG_BATTERY_REMAINING_UNKNOWN;

	dev_ctx.humidity_measure_attrs.measure_value = ZB_ZCL_ATTR_REL_HUMIDITY_MEASUREMENT_VALUE_UNKNOWN;
	dev_ctx.humidity_measure_attrs.min_measure_value = ATTR_HUM_MIN;
	dev_ctx.humidity_measure_attrs.max_measure_value = ATTR_HUM_MAX;
}
```

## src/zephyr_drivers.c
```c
#include "zephyr_drivers.h"
#include <zephyr/logging/log.h>
#include <zephyr/pm/device.h>

const struct device *leds = DEVICE_DT_GET(DT_NODELABEL(leds));
const struct gpio_dt_spec button = GPIO_DT_SPEC_GET(SW0_NODE, gpios);
const struct gpio_dt_spec led = GPIO_DT_SPEC_GET(LED0_NODE, gpios);
struct k_timer led_timer;

LOG_MODULE_REGISTER(zephyr_drivers, LOG_LEVEL_INF);



//RTIO_DEFINE(ctx, 1, 1);

void set_led_off(const struct gpio_dt_spec *led)
{
    gpio_pin_set_dt(led, 0);
}

void set_led_on(const struct gpio_dt_spec *led)
{
    gpio_pin_set_dt(led, 1);
}

void led_timer_handler(struct k_timer *timer)
{
    ARG_UNUSED(timer);

    static int led_on_state;
    gpio_pin_set_dt(&led, !((++led_on_state) % 100));
    k_timer_start(&led_timer, K_MSEC(10), K_NO_WAIT);
}
```
